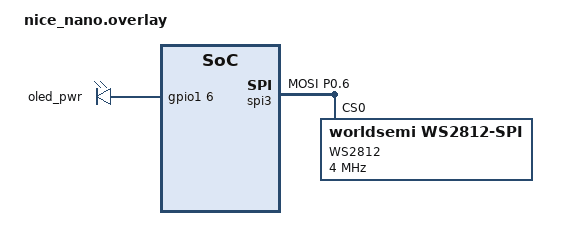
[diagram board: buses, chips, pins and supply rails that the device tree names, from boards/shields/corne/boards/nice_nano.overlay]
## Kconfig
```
# Copyright (c) 2020 The ZMK Contributors
# SPDX-License-Identifier: MIT

mainmenu "ZMK Firmware"

menu "ZMK"

menu "Basic Keyboard Setup"

config ZMK_KEYBOARD_NAME
    string "Keyboard Name"

config USB_DEVICE_PRODUCT
    default ZMK_KEYBOARD_NAME

config BT_DEVICE_NAME
    default ZMK_KEYBOARD_NAME

config USB_DEVICE_VID
    default 0x1D50

config USB_DEVICE_PID
    default 0x615E

config USB_DEVICE_MANUFACTURER
    default "ZMK Project"

config BT_DIS_PNP_VID
    default 0x1D50

config BT_DIS_PNP_PID
    default 0x615E

config BT_DIS_MODEL
    default ZMK_KEYBOARD_NAME

config BT_DIS_MANUF
    default "ZMK Project"

menu "HID"

choice ZMK_HID_REPORT_TYPE
    prompt "HID Report Type"

config ZMK_HID_REPORT_TYPE_HKRO
    bool "#-Key Roll Over (HKRO) HID Report"
    help
      Enable # key roll over for HID report. This selection is "boot keyboard" compatible
      but limits the total number of possible keys to report as held to #.

config ZMK_HID_REPORT_TYPE_NKRO
    bool "Full N-Key Roll Over (NKRO) HID Report"
    help
      Enable full N-Key Roll Over for HID output. This selection will prevent the keyboard
      from working with some BIOS/UEFI versions that only support "boot keyboard" support.
      This option also prevents using some infrequently used higher range HID usages.

endchoice

if ZMK_HID_REPORT_TYPE_HKRO

config ZMK_HID_KEYBOARD_REPORT_SIZE
    int "# Keyboard Keys Reportable"
    default 6

endif

config ZMK_HID_CONSUMER_REPORT_SIZE
    int "# Consumer Keys Reportable"
    default 6


choice ZMK_HID_CONSUMER_REPORT_USAGES
    prompt "HID Report Type"

config ZMK_HID_CONSUMER_REPORT_USAGES_FULL
    bool "Full Consumer HID Usage Support"
    help
      Enable full Consumer usage ID values to be sent to hosts. Allows for less
      frequently used usages, but has compatibability issues with some host OSes.

config ZMK_HID_CONSUMER_REPORT_USAGES_BASIC
    bool "Basic Consumer HID Usage Support"
    help
      Enable Consumer usage ID values up to "Playback Speed - Slow" to be sent to
      hosts. Allows for broader compatibability with more host OSes.

endchoice

menu "Output Types"

config ZMK_USB
    bool "USB"
    select USB
    select USB_DEVICE_STACK
    select USB_DEVICE_HID

if ZMK_USB

config USB_NUMOF_EP_WRITE_RETRIES
    default 10

config USB_HID_POLL_INTERVAL_MS
    default 1

#ZMK_USB
endif

menuconfig ZMK_BLE
    bool "BLE (HID over GATT)"
    select BT
    select BT_SMP
    select BT_SMP_SC_PAIR_ONLY
    select BT_SMP_APP_PAIRING_ACCEPT
    select BT_PERIPHERAL
    select BT_DIS
    select BT_SETTINGS
    select SETTINGS
    imply ZMK_BATTERY_REPORTING

if ZMK_BLE

# BT_TINYCRYPT_ECC is required for BT_SMP_SC_PAIR_ONLY when using HCI
config BT_TINYCRYPT_ECC
    default y if BT_HCI && !BT_CTLR

choice BT_LL_SW_LLCP_IMPL
    default BT_LL_SW_LLCP_LEGACY

endchoice

config SYSTEM_WORKQUEUE_STACK_SIZE
    default 4096 if SOC_RP2040
    default 2048

config ZMK_BLE_THREAD_STACK_SIZE
    int "BLE notify thread stack size"
    default 768

config ZMK_BLE_THREAD_PRIORITY
    int "BLE notify thread priority"
    default 5

config ZMK_BLE_KEYBOARD_REPORT_QUEUE_SIZE
    int "Max number of keyboard HID reports to queue for sending over BLE"
    default 20

config ZMK_BLE_CONSUMER_REPORT_QUEUE_SIZE
    int "Max number of consumer HID reports to queue for sending over BLE"
    default 5

config ZMK_BLE_MOUSE_REPORT_QUEUE_SIZE
    int "Max number of mouse HID reports to queue for sending over BLE"
    default 20

config ZMK_BLE_CLEAR_BONDS_ON_START
    bool "Configuration that clears all bond information from the keyboard on startup."
    default n

# HID GATT notifications sent this way are *not* picked up by Linux, and possibly others.
config BT_GATT_NOTIFY_MULTIPLE
    default n

config BT_GATT_AUTO_SEC_REQ
    default n

config BT_DEVICE_APPEARANCE
    default 961

config ZMK_BLE_PASSKEY_ENTRY
    bool "Require passkey entry on the keyboard to complete pairing"
    default n
    select RING_BUFFER

config BT_PERIPHERAL_PREF_MIN_INT
    default 6

config BT_PERIPHERAL_PREF_MAX_INT
    default 12

config BT_PERIPHERAL_PREF_LATENCY
    default 30

config BT_PERIPHERAL_PREF_TIMEOUT
    default 400

#ZMK_BLE
endif

#Output Types
endmenu

# HID
endmenu

rsource "src/split/Kconfig"

#Basic Keyboard Setup
endmenu

menu "Display/LED Options"

rsource "src/display/Kconfig"

menuconfig ZMK_RGB_UNDERGLOW
    bool "RGB Adressable LED Underglow"
    select LED_STRIP

if ZMK_RGB_UNDERGLOW

# This default value cuts down on tons of excess .conf files, if you're using GPIO, manually disable this
config SPI
    default y

config ZMK_RGB_UNDERGLOW_EXT_POWER
    bool "RGB underglow toggling also controls external power"
    default y

config ZMK_RGB_UNDERGLOW_BRT_MIN
    int "RGB underglow minimum brightness in percent"
    range 0 100
    default 0

config ZMK_RGB_UNDERGLOW_BRT_MAX
    int "RGB underglow maximum brightness in percent"
    range ZMK_RGB_UNDERGLOW_BRT_MIN 100
    default 100

config ZMK_RGB_UNDERGLOW_HUE_STEP
    int "RGB underglow hue step in degrees"
    range 0 359
    default 10

config ZMK_RGB_UNDERGLOW_SAT_STEP
    int "RGB underglow saturation step in percent"
    range 0 100
    default 10

config ZMK_RGB_UNDERGLOW_BRT_STEP
    int "RGB underglow brightness step in percent"
    range 0 100
    default 10

config ZMK_RGB_UNDERGLOW_HUE_START
    int "RGB underglow start hue value in degrees"
    range 0 359
    default 0

config ZMK_RGB_UNDERGLOW_SAT_START
    int "RGB underglow start saturations value in percent"
    range 0 100
    default 100

config ZMK_RGB_UNDERGLOW_BRT_START
    int "RGB underglow start brightness value in percent"
    range ZMK_RGB_UNDERGLOW_BRT_MIN ZMK_RGB_UNDERGLOW_BRT_MAX
    default ZMK_RGB_UNDERGLOW_BRT_MAX

config ZMK_RGB_UNDERGLOW_SPD_START
    int "RGB underglow start animation speed value"
    range 1 5
    default 3

config ZMK_RGB_UNDERGLOW_EFF_START
    int "RGB underglow start effect int value related to the effect enum list"
    range 0 3
    default 0

config ZMK_RGB_UNDERGLOW_ON_START
    bool "RGB underglow starts on by default"
    default y

config ZMK_RGB_UNDERGLOW_AUTO_OFF_IDLE
    bool "Turn off RGB underglow when keyboard goes into idle state"

config ZMK_RGB_UNDERGLOW_AUTO_OFF_USB
    bool "Turn off RGB underglow when USB is disconnected"
    depends on USB_DEVICE_STACK

#ZMK_RGB_UNDERGLOW
endif

menuconfig ZMK_BACKLIGHT
    bool "LED backlight"
    select LED

if ZMK_BACKLIGHT

config ZMK_BACKLIGHT_BRT_STEP
    int "Brightness step in percent"
    range 1 100
    default 20

config ZMK_BACKLIGHT_BRT_START
    int "Default brightness in percent"
    range 1 100
    default 40

config ZMK_BACKLIGHT_ON_START
    bool "Default backlight state"
    default y

config ZMK_BACKLIGHT_AUTO_OFF_IDLE
    bool "Turn off backlight when keyboard goes into idle state"

config ZMK_BACKLIGHT_AUTO_OFF_USB
    bool "Turn off backlight when USB is disconnected"

#ZMK_BACKLIGHT
endif

#Display/LED Options
endmenu

menu "Mouse Options"

rsource "src/mouse/Kconfig"

#Mouse Options
endmenu

menu "Power Management"

config ZMK_BATTERY_REPORTING
    bool "Battery level detection/reporting"
    default n
    select SENSOR
    select BT_BAS if ZMK_BLE

config ZMK_IDLE_TIMEOUT
    int "Milliseconds of inactivity before entering idle state (OLED shutoff, etc)"
    default 30000

config ZMK_SLEEP
    bool "Enable deep sleep support"
    imply USB

if ZMK_SLEEP

config PM_DEVICE
    default y

config ZMK_IDLE_SLEEP_TIMEOUT
    int "Milliseconds of inactivity before entering deep sleep"
    default 900000

#ZMK_SLEEP
endif

config ZMK_EXT_POWER
    bool "Enable support to control external power output"
    default y

if ZMK_EXT_POWER

config SETTINGS_EXT_POWER
    bool "Enable persistent storage for EXT_POWER state"
    default y

#ZMK_EXT_POWER
endif

#Power Management
endmenu

menu "Combo options"

config ZMK_COMBO_MAX_PRESSED_COMBOS
    int "Maximum number of currently pressed combos"
    default 4

config ZMK_COMBO_MAX_COMBOS_PER_KEY
    int "Maximum number of combos per key"
    default 5

config ZMK_COMBO_MAX_KEYS_PER_COMBO
    int "Maximum number of keys per combo"
    default 4

#Combo options
endmenu

menu "Behavior Options"

config ZMK_BEHAVIORS_QUEUE_SIZE
    int "Maximum number of behaviors to allow queueing from a macro or other complex behavior"
    default 64

rsource "Kconfig.behaviors"

config ZMK_MACRO_DEFAULT_WAIT_MS
    int "Default time to wait (in milliseconds) before triggering the next behavior in macros"
    default 15

config ZMK_MACRO_DEFAULT_TAP_MS
    int "Default time to wait (in milliseconds) between the press and release events of a tapped behavior in macros"
    default 30

DT_COMPAT_ZMK_BEHAVIOR_TRI_STATE := zmk,behavior-tri-state

config ZMK_BEHAVIOR_TRI_STATE
        bool
        default $(dt_compat_enabled,$(DT_COMPAT_ZMK_BEHAVIOR_TRI_STATE))

endmenu

menu "Advanced"

menu "Initialization Priorities"

if USB_DEVICE_STACK

config ZMK_USB_INIT_PRIORITY
    int "USB Init Priority"
    default 50

#USB
endif

if ZMK_BLE || ZMK_SPLIT_BLE

config ZMK_BLE_INIT_PRIORITY
    int "BLE Init Priority"
    default 50

#ZMK_BLE || ZMK_SPLIT_BLE
endif

#Initialization Priorities
endmenu

menuconfig ZMK_KSCAN
    bool "ZMK KScan Integration"
    default y
    select KSCAN

if ZMK_KSCAN

config ZMK_KSCAN_EVENT_QUEUE_SIZE
    int "Size of the event queue for KSCAN events to buffer events"
    default 4

endif # ZMK_KSCAN

menu "Logging"

config ZMK_LOGGING_MINIMAL
    bool "Suppress all ZMK debug log messages"
    default false

if !ZMK_LOGGING_MINIMAL

config ZMK_LOG_LEVEL
    default 4

endif

config ZMK_USB_LOGGING
    bool "Enable USB CDC ACM logging to help debug"
    select LOG
    select USB
    select USB_DEVICE_STACK
    select USB_CDC_ACM
    select SERIAL
    select CONSOLE
    select UART_INTERRUPT_DRIVEN
    select UART_LINE_CTRL
    select UART_CONSOLE
    select USB_UART_CONSOLE

if ZMK_USB_LOGGING

choice USB_CDC_ACM_LOG_LEVEL_CHOICE
    default USB_CDC_ACM_LOG_LEVEL_OFF
endchoice

choice USB_DRIVER_LOG_LEVEL_CHOICE
    default USB_DRIVER_LOG_LEVEL_OFF
endchoice

# We do this to avoid log loop where logging to USB generates more log messages.

config USB_CDC_ACM_RINGBUF_SIZE
    default 1024

config LOG_PROCESS_THREAD_STARTUP_DELAY_MS
    default 1000

#ZMK_USB_LOGGING
endif

config ZMK_RTT_LOGGING
    bool "Enable RTT logging to help debug"
    select LOG
    select DEBUG
    select ASSERT
    select USE_SEGGER_RTT
    select CONSOLE
    select RTT_CONSOLE

if ZMK_RTT_LOGGING

config SEGGER_RTT_BUFFER_SIZE_UP
    default 8192

#ZMK_RTT_LOGGING
endif

if ZMK_USB_LOGGING || ZMK_RTT_LOGGING

config LOG_BUFFER_SIZE
    default 8192

config LOG_PROCESS_THREAD_SLEEP_MS
    default 100

#ZMK_USB_LOGGING || ZMK_RTT_LOGGING
endif

#Logging
endmenu

if SETTINGS

config ZMK_SETTINGS_SAVE_DEBOUNCE
    int "Milliseconds to debounce settings saves"
    default 60000

#SETTINGS
endif

config ZMK_BATTERY_REPORT_INTERVAL
    depends on ZMK_BATTERY_REPORTING
    int "Battery level report interval in seconds"
    default 60

config ZMK_LOW_PRIORITY_THREAD_STACK_SIZE
    int "Low priority thread stack size"
    default 768

config ZMK_LOW_PRIORITY_THREAD_PRIORITY
    int "Low priority thread priority"
    default 10

#Advanced
endmenu

#ZMK
endmenu

config HEAP_MEM_POOL_SIZE
    default 8192

config KERNEL_BIN_NAME
    default "zmk"

config REBOOT
    default y

config USB_DEVICE_STACK
    default y if HAS_HW_NRF_USBD

config ZMK_WPM
    bool "Calculate WPM"
    default n

config ZMK_KEYMAP_SENSORS
    bool "Enable Keymap Sensors support"
    default y
    depends on DT_HAS_ZMK_KEYMAP_SENSORS_ENABLED
    select SENSOR

if ZMK_KEYMAP_SENSORS

config ZMK_KEYMAP_SENSORS_DEFAULT_TRIGGERS_PER_ROTATION
    int "Default triggers per rotation"
    help
      Unless overridden for a sensor in the board/shield/devicetree, this value
      determines how many times to trigger the bound behavior per full rotation.
      For tactile encoders with detents, this usually should match the number of
      detents per rotation of the encoder.
    default 20

endif # ZMK_KEYMAP_SENSORS

choice CBPRINTF_IMPLEMENTATION
    default CBPRINTF_NANO

endchoice

module = ZMK
module-str = zmk
source "subsys/logging/Kconfig.template.log_config"

rsource "boards/Kconfig"
rsource "boards/shields/*/Kconfig.defconfig"
rsource "boards/shields/*/Kconfig.shield"

osource "$(ZMK_CONFIG)/boards/shields/*/Kconfig.defconfig"
osource "$(ZMK_CONFIG)/boards/shields/*/Kconfig.shield"


source "Kconfig.zephyr"
```

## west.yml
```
manifest:
  remotes:
    - name: zephyrproject-rtos
      url-base: https://github.com/zephyrproject-rtos
    - name: zmkfirmware
      url-base: https://github.com/zmkfirmware
  projects:
    - name: zephyr
      remote: zmkfirmware
      revision: v3.5.0+zmk-fixes
      clone-depth: 1
      import:
        name-blocklist:
          - ci-tools
          - hal_altera
          - hal_cypress
          - hal_infineon
          - hal_microchip
          - hal_nxp
          - hal_openisa
          - hal_silabs
          - hal_xtensa
          - hal_st
          - hal_ti
          - loramac-node
          - mcuboot
          - mcumgr
          - net-tools
          - openthread
          - edtt
          - trusted-firmware-m
    - name: nanopb
      revision: 65cbefb4695bc7af1cb733ced99618afb3586b20
      path: modules/lib/nanopb
      remote: zephyrproject-rtos
    - name: zmk-studio-messages
      revision: 42446798e357e8021c5202a01ea250a34a776e85
      path: modules/msgs/zmk-studio-messages
      remote: zmkfirmware
    - name: zmk-tri-state
      path: modules/lib/zmk-tri-state
      revision: 01081e25abd8c9089fcdb300fe9922e8a426ed77
      url: https://github.com/dhruvinsh/zmk-tri-state
  self:
    west-commands: scripts/west-commands.yml
```

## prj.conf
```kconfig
CONFIG_APPLICATION_DEFINED_SYSCALL=y

CONFIG_ZMK_DISPLAY=y
CONFIG_ZMK_WIDGET_BATTERY_STATUS_SHOW_PERCENTAGE=y
```

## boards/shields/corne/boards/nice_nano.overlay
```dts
#include <dt-bindings/led/led.h>

/ {
    leds {
        oled_pwr: oled_pwr {
            gpios = <&gpio1 6 GPIO_ACTIVE_HIGH>;
        };
    };
};

&pinctrl {
    spi3_default: spi3_default {
        group1 {
            psels = <NRF_PSEL(SPIM_MOSI, 0, 6)>;
        };
    };

    spi3_sleep: spi3_sleep {
        group1 {
            psels = <NRF_PSEL(SPIM_MOSI, 0, 6)>;
            low-power-enable;
        };
    };
};

&spi3 {
    compatible = "nordic,nrf-spim";
    status = "okay";

    pinctrl-0 = <&spi3_default>;
    pinctrl-1 = <&spi3_sleep>;
    pinctrl-names = "default", "sleep";

    led_strip: ws2812@0 {
        compatible = "worldsemi,ws2812-spi";
        label = "WS2812";

        /* SPI */
        reg = <0>; /* ignored, but necessary for SPI bindings */
        spi-max-frequency = <4000000>;

        /* WS2812 */
        chain-length = <10>; /* arbitrary; change at will */
        spi-one-frame = <0x70>;
        spi-zero-frame = <0x40>;

        color-mapping = <LED_COLOR_ID_GREEN LED_COLOR_ID_RED LED_COLOR_ID_BLUE>;
    };
};

/ {
    chosen {
        zmk,underglow = &led_strip;
    };
};
```

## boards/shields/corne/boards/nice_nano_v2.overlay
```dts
#include <dt-bindings/led/led.h>

/ {
    leds {
        oled_pwr: oled_pwr {
            gpios = <&gpio1 6 GPIO_ACTIVE_HIGH>;
        };
    };
};

&pinctrl {
    spi3_default: spi3_default {
        group1 {
            psels = <NRF_PSEL(SPIM_MOSI, 0, 6)>;
        };
    };

    spi3_sleep: spi3_sleep {
        group1 {
            psels = <NRF_PSEL(SPIM_MOSI, 0, 6)>;
            low-power-enable;
        };
    };
};

&spi3 {
    compatible = "nordic,nrf-spim";
    status = "okay";

    pinctrl-0 = <&spi3_default>;
    pinctrl-1 = <&spi3_sleep>;
    pinctrl-names = "default", "sleep";

    led_strip: ws2812@0 {
        compatible = "worldsemi,ws2812-spi";

        /* SPI */
        reg = <0>; /* ignored, but necessary for SPI bindings */
        spi-max-frequency = <4000000>;

        /* WS2812 */
        chain-length = <10>; /* arbitrary; change at will */
        spi-one-frame = <0x70>;
        spi-zero-frame = <0x40>;

        color-mapping = <LED_COLOR_ID_GREEN LED_COLOR_ID_RED LED_COLOR_ID_BLUE>;
    };
};

/ {
    chosen {
        zmk,underglow = &led_strip;
    };
};
```

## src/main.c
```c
/*
 * Copyright (c) 2020 The ZMK Contributors
 *
 * SPDX-License-Identifier: MIT
 */

#include <zephyr/kernel.h>
#include <zephyr/device.h>
#include <zephyr/devicetree.h>
#include <zephyr/drivers/gpio.h>
#include <zephyr/init.h>
#include <zephyr/settings/settings.h>

#include <zephyr/logging/log.h>
LOG_MODULE_REGISTER(zmk, CONFIG_ZMK_LOG_LEVEL);

#include <zmk/display.h>

#if DT_NODE_EXISTS(DT_NODELABEL(oled_pwr))
static int oled_pwr_init(void)
{
    const struct gpio_dt_spec oled_pwr = GPIO_DT_SPEC_GET(DT_NODELABEL(oled_pwr), gpios);
    gpio_pin_configure_dt(&oled_pwr, GPIO_OUTPUT_ACTIVE);

    return 0;
}

SYS_INIT(oled_pwr_init, PRE_KERNEL_1, 0);
#endif

int main(void) {
    LOG_INF("Welcome to ZMK!\n");

#if IS_ENABLED(CONFIG_SETTINGS)
    settings_subsys_init();
    settings_load();
#endif

#ifdef CONFIG_ZMK_DISPLAY
    k_msleep(50); /* Wait for screen power-on to complete */
    zmk_display_init();
#endif /* CONFIG_ZMK_DISPLAY */

    return 0;
}
```

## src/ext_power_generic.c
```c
/*
 * Copyright (c) 2020 The ZMK Contributors
 *
 * SPDX-License-Identifier: MIT
 */

#define DT_DRV_COMPAT zmk_ext_power_generic

#include <stdio.h>
#include <zephyr/device.h>
#include <zephyr/pm/device.h>
#include <zephyr/init.h>
#include <zephyr/kernel.h>
#include <zephyr/settings/settings.h>
#include <zephyr/drivers/gpio.h>

#include <drivers/ext_power.h>

#if DT_HAS_COMPAT_STATUS_OKAY(DT_DRV_COMPAT)

#include <zephyr/logging/log.h>
LOG_MODULE_DECLARE(zmk, CONFIG_ZMK_LOG_LEVEL);

struct ext_power_generic_config {
    const struct gpio_dt_spec control;
    const uint16_t init_delay_ms;
};

struct ext_power_generic_data {
    bool status;
#if IS_ENABLED(CONFIG_SETTINGS)
    bool settings_init;
#endif
};

#if IS_ENABLED(CONFIG_SETTINGS)
static void ext_power_save_state_work(struct k_work *work) {
    char setting_path[40];
    const struct device *ext_power = DEVICE_DT_GET(DT_DRV_INST(0));
    struct ext_power_generic_data *data = ext_power->data;

    snprintf(setting_path, 40, "ext_power/state/%s", DT_INST_PROP(0, label));
    settings_save_one(setting_path, &data->status, sizeof(data->status));
}

static struct k_work_delayable ext_power_save_work;
#endif

int ext_power_save_state() {
#if IS_ENABLED(CONFIG_SETTINGS) && IS_ENABLED(CONFIG_SETTINGS_EXT_POWER)
    int ret = k_work_reschedule(&ext_power_save_work, K_MSEC(CONFIG_ZMK_SETTINGS_SAVE_DEBOUNCE));
    return MIN(ret, 0);
#else
    return 0;
#endif
}

static int ext_power_generic_enable(const struct device *dev) {
    struct ext_power_generic_data *data = dev->data;
    const struct ext_power_generic_config *config = dev->config;

    if (gpio_pin_set_dt(&config->control, 1)) {
        LOG_WRN("Failed to set ext-power control pin");
        return -EIO;
    }
    data->status = true;
    return ext_power_save_state();
}

static int ext_power_generic_disable(const struct device *dev) {
    struct ext_power_generic_data *data = dev->data;
    const struct ext_power_generic_config *config = dev->config;

    if (gpio_pin_set_dt(&config->control, 0)) {
        LOG_WRN("Failed to set ext-power control pin");
        LOG_WRN("Failed to clear ext-power control pin");
        return -EIO;
    }
    data->status = false;
    return ext_power_save_state();
}

static int ext_power_generic_get(const struct device *dev) {
    struct ext_power_generic_data *data = dev->data;
    return data->status;
}

#if IS_ENABLED(CONFIG_SETTINGS)
static int ext_power_settings_set(const char *name, size_t len, settings_read_cb read_cb,
                                  void *cb_arg) {
    const char *next;
    int rc;

    if (settings_name_steq(name, DT_INST_PROP(0, label), &next) && !next) {
        const struct device *ext_power = DEVICE_DT_GET(DT_DRV_INST(0));
        struct ext_power_generic_data *data = ext_power->data;

        if (len != sizeof(data->status)) {
            return -EINVAL;
        }

        rc = read_cb(cb_arg, &data->status, sizeof(data->status));
        if (rc >= 0) {
            data->settings_init = true;

            if (ext_power == NULL) {
                LOG_ERR("Unable to retrieve ext_power device: %s", DT_INST_PROP(0, label));
                return -EIO;
            }

            if (data->status) {
                ext_power_generic_enable(ext_power);
            } else {
                ext_power_generic_disable(ext_power);
            }

            return 0;
        }
        return rc;
    }
    return -ENOENT;
}

struct settings_handler ext_power_conf = {.name = "ext_power/state",
                                          .h_set = ext_power_settings_set};
#endif

static int ext_power_generic_init(const struct device *dev) {
    struct ext_power_generic_data *data = dev->data;
    const struct ext_power_generic_config *config = dev->config;

    if (gpio_pin_configure_dt(&config->control, GPIO_OUTPUT_INACTIVE)) {
        LOG_ERR("Failed to configure ext-power control pin");
        return -EIO;
    }

#if IS_ENABLED(CONFIG_SETTINGS)
    settings_subsys_init();

    int err = settings_register(&ext_power_conf);
    if (err) {
        LOG_ERR("Failed to register the ext_power settings handler (err %d)", err);
        return err;
    }

    k_work_init_delayable(&ext_power_save_work, ext_power_save_state_work);

    // Set default value (on) if settings isn't set
    settings_load_subtree("ext_power");
    if (!data->settings_init) {

        data->status = true;
        k_work_schedule(&ext_power_save_work, K_NO_WAIT);

        ext_power_enable(dev);
    }
#else
    // Default to the ext_power being open when no settings
    ext_power_enable(dev);
#endif

    if (config->init_delay_ms) {
        k_msleep(config->init_delay_ms);
    }

    return 0;
}

#ifdef CONFIG_PM_DEVICE
static int ext_power_generic_pm_action(const struct device *dev, enum pm_device_action action) {
    switch (action) {
    case PM_DEVICE_ACTION_RESUME:
        ext_power_generic_enable(dev);
        return 0;
    case PM_DEVICE_ACTION_SUSPEND:
        ext_power_generic_disable(dev);
        return 0;
    default:
        return -ENOTSUP;
    }
}
#endif /* CONFIG_PM_DEVICE */

static const struct ext_power_generic_config config = {
    .control = GPIO_DT_SPEC_INST_GET(0, control_gpios),
    .init_delay_ms = DT_INST_PROP_OR(0, init_delay_ms, 0)};

static struct ext_power_generic_data data = {
    .status = false,
#if IS_ENABLED(CONFIG_SETTINGS)
    .settings_init = false,
#endif
};

static const struct ext_power_api api = {.enable = ext_power_generic_enable,
                                         .disable = ext_power_generic_disable,
                                         .get = ext_power_generic_get};

#define ZMK_EXT_POWER_INIT_PRIORITY 81

PM_DEVICE_DT_INST_DEFINE(0, ext_power_generic_pm_action);
DEVICE_DT_INST_DEFINE(0, ext_power_generic_init, PM_DEVICE_DT_INST_GET(0), &data, &config,
                      POST_KERNEL, ZMK_EXT_POWER_INIT_PRIORITY, &api);

#endif /* DT_HAS_COMPAT_STATUS_OKAY(DT_DRV_COMPAT) */
```
